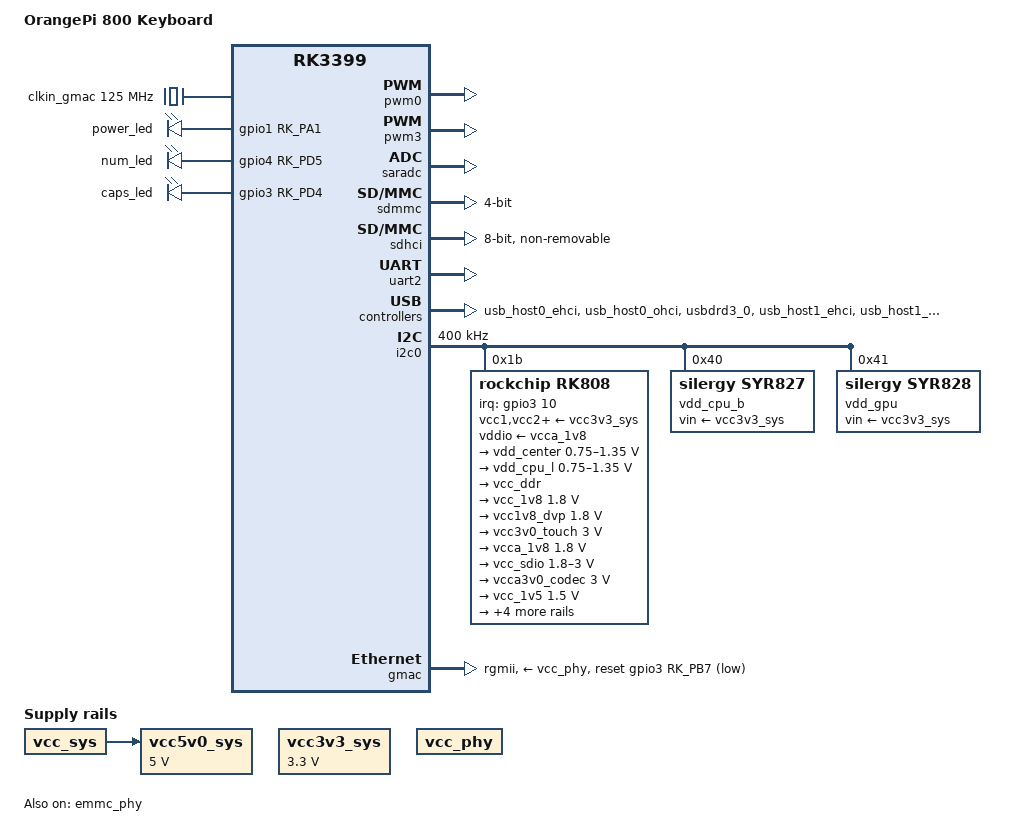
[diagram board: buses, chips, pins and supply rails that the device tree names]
/*
 * (C) Copyright 2016 Rockchip Electronics Co., Ltd
 *
 * SPDX-License-Identifier:     GPL-2.0+
 */

/dts-v1/;
#include <dt-bindings/pwm/pwm.h>
#include <dt-bindings/pinctrl/rockchip.h>
#include "rk3399.dtsi"
#include "rk3399-opp.dtsi"

/ {
	model = "OrangePi 800 Keyboard";
	compatible = "rockchip,rk3399";

	chosen {
		stdout-path = "serial2:1500000n8";
	};

        vcc5v0_sys: vcc5v0-sys {
                compatible = "regulator-fixed";
                regulator-name = "vcc5v0_sys";
                regulator-always-on;
                regulator-boot-on;
                regulator-min-microvolt = <5000000>;
                regulator-max-microvolt = <5000000>;
                vin-supply = <&vcc_sys>;

                regulator-state-mem {
                        regulator-on-in-suspend;
                };
        };

	vcc_sys: vcc_sys {
		compatible = "regulator-fixed";
		regulator-name = "vcc_sys";
		regulator-boot-on;
		regulator-always-on;
	};

	vcc3v3_sys: vcc3v3-sys {
		compatible = "regulator-fixed";
		regulator-name = "vcc3v3_sys";
		regulator-always-on;
		regulator-boot-on;
		regulator-min-microvolt = <3300000>;
		regulator-max-microvolt = <3300000>;
	};

	vcc_phy: vcc-phy-regulator {
		compatible = "regulator-fixed";
		regulator-name = "vcc_phy";
		regulator-always-on;
		regulator-boot-on;
	};

	clkin_gmac: external-gmac-clock {
		compatible = "fixed-clock";
		clock-frequency = <125000000>;
		clock-output-names = "clkin_gmac";
		#clock-cells = <0>;
	};

	leds: gpio-leds {
		compatible = "gpio-leds";
		pinctrl-names = "default";
		pinctrl-0 =<&leds_gpio>;

		power {
			gpios = <&gpio1 RK_PA1 GPIO_ACTIVE_HIGH>;
			label = "power_led";
			default-state = "on";
		};

		num {
			gpios = <&gpio4 RK_PD5 GPIO_ACTIVE_HIGH>;
			label = "num_led";
			default-state = "off";
		};

		caps {
			gpios = <&gpio3 RK_PD4 GPIO_ACTIVE_HIGH>;
			label = "caps_led";
			default-state = "off";
		};
	};
};

&emmc_phy {
	status = "okay";
};

&pwm0 {
	status = "okay";
};

&pwm3 {
	status = "okay";
};

&saradc {
	status = "okay";
};

&sdmmc {
	bus-width = <4>;
	status = "okay";
};

&sdhci {
	bus-width = <8>;
	mmc-hs400-1_8v;
	mmc-hs400-enhanced-strobe;
	non-removable;
	status = "okay";
};

&uart2 {
	status = "okay";
};

&usb_host0_ehci {
	status = "okay";
};

&usb_host0_ohci {
	status = "okay";
};

&usbdrd3_0 {
	status = "okay";
};

&usb_host1_ehci {
	status = "okay";
};

&usb_host1_ohci {
	status = "okay";
};

&usbdrd3_1 {
	status = "okay";
};

&i2c0 {
	status = "okay";
	clock-frequency = <400000>;
	i2c-scl-falling-time-ns = <50>;
	i2c-scl-rising-time-ns = <100>;
	u-boot,dm-pre-reloc;

	rk808: pmic@1b {
		compatible = "rockchip,rk808";
		reg = <0x1b>;
		interrupt-parent = <&gpio3>;
		interrupts = <10 IRQ_TYPE_LEVEL_LOW>;
		#clock-cells = <1>;
		clock-output-names = "xin32k", "rk808-clkout2";
		pinctrl-names = "default";
		pinctrl-0 = <&pmic_int_l>;
		rockchip,system-power-controller;
		wakeup-source;

                vcc1-supply = <&vcc3v3_sys>;
                vcc2-supply = <&vcc3v3_sys>;
                vcc3-supply = <&vcc3v3_sys>;
                vcc4-supply = <&vcc3v3_sys>;
                vcc6-supply = <&vcc3v3_sys>;
                vcc7-supply = <&vcc3v3_sys>;
                vcc8-supply = <&vcc3v3_sys>;
                vcc9-supply = <&vcc3v3_sys>;
                vcc10-supply = <&vcc3v3_sys>;
                vcc11-supply = <&vcc3v3_sys>;
                vcc12-supply = <&vcc3v3_sys>;
                vcc13-supply = <&vcc3v3_sys>;
                vcc14-supply = <&vcc3v3_sys>;
                vddio-supply = <&vcca_1v8>;

		regulators {
			vdd_center: DCDC_REG1 {
				regulator-name = "vdd_center";
				regulator-always-on;
				regulator-boot-on;
				regulator-min-microvolt = <750000>;
				regulator-max-microvolt = <1350000>;
				regulator-ramp-delay = <6001>;
				regulator-state-mem {
					regulator-off-in-suspend;
				};
			};

			vdd_cpu_l: DCDC_REG2 {
				regulator-name = "vdd_cpu_l";
				regulator-always-on;
				regulator-boot-on;
				regulator-min-microvolt = <750000>;
				regulator-max-microvolt = <1350000>;
				regulator-ramp-delay = <6001>;
				regulator-state-mem {
					regulator-off-in-suspend;
				};
			};

			vcc_ddr: DCDC_REG3 {
				regulator-name = "vcc_ddr";
				regulator-always-on;
				regulator-boot-on;
				regulator-state-mem {
					regulator-on-in-suspend;
				};
			};

			vcc_1v8: DCDC_REG4 {
				regulator-name = "vcc_1v8";
				regulator-always-on;
				regulator-boot-on;
				regulator-min-microvolt = <1800000>;
				regulator-max-microvolt = <1800000>;
				regulator-state-mem {
					regulator-on-in-suspend;
					regulator-suspend-microvolt = <1800000>;
				};
			};

			vcc1v8_dvp: LDO_REG1 {
				regulator-name = "vcc1v8_dvp";
				regulator-always-on;
				regulator-boot-on;
				regulator-min-microvolt = <1800000>;
				regulator-max-microvolt = <1800000>;
				regulator-state-mem {
					regulator-off-in-suspend;
				};
			};

			vcc3v0_touch: LDO_REG2 {
				regulator-name = "vcc3v0_touch";
				regulator-always-on;
				regulator-boot-on;
				regulator-min-microvolt = <3000000>;
				regulator-max-microvolt = <3000000>;
				regulator-state-mem {
					regulator-off-in-suspend;
				};
			};

			vcca_1v8: LDO_REG3 {
				regulator-name = "vcca_1v8";
				regulator-always-on;
				regulator-boot-on;
				regulator-min-microvolt = <1800000>;
				regulator-max-microvolt = <1800000>;
				regulator-state-mem {
					regulator-on-in-suspend;
					regulator-suspend-microvolt = <1800000>;
				};
			};

			vcc_sdio: LDO_REG4 {
				regulator-name = "vcc_sdio";
				regulator-always-on;
				regulator-boot-on;
				regulator-min-microvolt = <1800000>;
				regulator-max-microvolt = <3000000>;
				regulator-state-mem {
					regulator-on-in-suspend;
					regulator-suspend-microvolt = <3000000>;
				};
			};

			vcca3v0_codec: LDO_REG5 {
				regulator-name = "vcca3v0_codec";
				regulator-always-on;
				regulator-boot-on;
				regulator-min-microvolt = <3000000>;
				regulator-max-microvolt = <3000000>;
				regulator-state-mem {
					regulator-off-in-suspend;
				};
			};

			vcc_1v5: LDO_REG6 {
				regulator-name = "vcc_1v5";
				regulator-always-on;
				regulator-boot-on;
				regulator-min-microvolt = <1500000>;
				regulator-max-microvolt = <1500000>;
				regulator-state-mem {
					regulator-on-in-suspend;
					regulator-suspend-microvolt = <1500000>;
				};
			};

			vcca1v8_codec: LDO_REG7 {
				regulator-name = "vcca1v8_codec";
				regulator-always-on;
				regulator-boot-on;
				regulator-min-microvolt = <1800000>;
				regulator-max-microvolt = <1800000>;
				regulator-state-mem {
					regulator-off-in-suspend;
				};
			};

			vcc_3v0: LDO_REG8 {
				regulator-name = "vcc_3v0";
				regulator-always-on;
				regulator-boot-on;
				regulator-min-microvolt = <3000000>;
				regulator-max-microvolt = <3000000>;
				regulator-state-mem {
					regulator-on-in-suspend;
					regulator-suspend-microvolt = <3000000>;
				};
			};

			vcc3v3_s3: vcc_lan: SWITCH_REG1 {
				regulator-name = "vcc3v3_s3";
				regulator-always-on;
				regulator-boot-on;
				regulator-state-mem {
					regulator-off-in-suspend;
				};
			};

			vcc3v3_s0: SWITCH_REG2 {
				regulator-name = "vcc3v3_s0";
				regulator-always-on;
				regulator-boot-on;
				regulator-state-mem {
					regulator-off-in-suspend;
				};
			};
		};
	};

	vdd_cpu_b: regulator@40 {
		compatible = "silergy,syr827";
		reg = <0x40>;
		fcs,suspend-voltage-selector = <1>;
		pinctrl-names = "default";
		pinctrl-0 = <&vsel1_gpio>;
		regulator-name = "vdd_cpu_b";
		regulator-min-microvolt = <712500>;
		regulator-max-microvolt = <1500000>;
		regulator-ramp-delay = <1000>;
		regulator-always-on;
		regulator-boot-on;
		vin-supply = <&vcc3v3_sys>;

		regulator-state-mem {
			regulator-off-in-suspend;
		};
	};

	vdd_gpu: regulator@41 {
		compatible = "silergy,syr828";
		reg = <0x41>;
		fcs,suspend-voltage-selector = <1>;
		pinctrl-names = "default";
		pinctrl-0 = <&vsel2_gpio>;
		regulator-name = "vdd_gpu";
		regulator-min-microvolt = <712500>;
		regulator-max-microvolt = <1500000>;
		regulator-ramp-delay = <1000>;
		regulator-always-on;
		regulator-boot-on;
		vin-supply = <&vcc3v3_sys>;

		regulator-state-mem {
			regulator-off-in-suspend;
		};
	};
};

&pinctrl {
	pmic {
		pmic_int_l: pmic-int-l {
			rockchip,pins =
				<1 21 RK_FUNC_GPIO &pcfg_pull_up>;
		};


                vsel1_gpio: vsel1-gpio {
                        rockchip,pins = <1 RK_PC1 RK_FUNC_GPIO &pcfg_pull_down>;
                };

                vsel2_gpio: vsel2-gpio {
                        rockchip,pins = <1 RK_PB6 RK_FUNC_GPIO &pcfg_pull_down>;
                };

	};

	gpio-leds {
		leds_gpio: leds-gpio {
			rockchip,pins = <1 RK_PA1 RK_FUNC_GPIO &pcfg_pull_none>,
					<4 RK_PD5 RK_FUNC_GPIO &pcfg_pull_none>,
					<3 RK_PD4 RK_FUNC_GPIO &pcfg_pull_none>;
		};
	};
};

&gmac {
	phy-supply = <&vcc_phy>;
	phy-mode = "rgmii";
	clock_in_out = "input";
	snps,reset-gpio = <&gpio3 RK_PB7 GPIO_ACTIVE_LOW>;
	snps,reset-active-low;
	snps,reset-delays-us = <0 10000 50000>;
	assigned-clocks = <&cru SCLK_RMII_SRC>;
	assigned-clock-parents = <&clkin_gmac>;
	pinctrl-names = "default";
	pinctrl-0 = <&rgmii_pins>;
	tx_delay = <0x28>;
	rx_delay = <0x11>;
	status = "okay";
};
